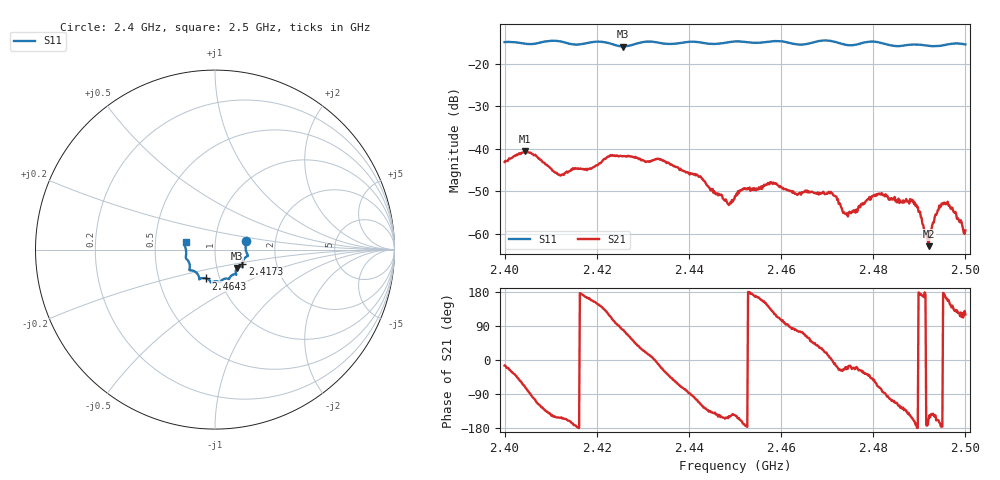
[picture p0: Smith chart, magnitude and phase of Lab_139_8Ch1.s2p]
# Hz S RI R 50
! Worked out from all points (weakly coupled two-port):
!   601 points, 2.4 GHz to 2.5 GHz, reference 50 ohm
!   highest |S21| = -40.54 dB at 2.4043 GHz (marker M1); lowest = -62.9 dB at 2.492 GHz (marker M2)
!   lowest |S11| = -15.9 dB at 2.4257 GHz (marker M3), VSWR 1.38, Z = 62.5 - j13.1 ohm
!   |S11| at or under -10 dB: start of sweep to end of sweep
!   S12 and S22 are empty: the file has one direction only
!   S11 on the Smith chart (normalised r, x): 2.4 GHz: 1.41, +0.14; 2.4173 GHz: 1.34, -0.23; 2.4643 GHz: 0.86, -0.28; 2.5 GHz: 0.72, +0.06
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2.4e9  0.1731 0.0493  0.00681 -0.00177  0 0  0 0
2.404333e9  0.1711 0.0217  0.00327 -0.00881  0 0  0 0
2.411833e9  0.1808 -0.0363  -0.00441 -0.00234  0 0  0 0
2.416667e9  0.1528 -0.0748  -0.00578 0.000652  0 0  0 0
2.417333e9  0.1521 -0.0822  -0.00558 0.00116  0 0  0 0
2.425667e9  0.1229 -0.1021  0.00145 0.00807  0 0  0 0
2.433333e9  0.1128 -0.1371  0.00751 -0.00151  0 0  0 0
2.442167e9  0.0739 -0.1634  -0.00173 -0.00437  0 0  0 0
2.448333e9  0.0341 -0.1752  -0.00205 -0.00108  0 0  0 0
2.45e9  0.0295 -0.1809  -0.0023 -0.00157  0 0  0 0
2.458167e9  -0.0192 -0.1833  -0.00237 0.00309  0 0  0 0
2.464333e9  -0.0499 -0.1606  0.00084 0.00277  0 0  0 0
2.466667e9  -0.0759 -0.1598  0.00213 0.00234  0 0  0 0
2.471333e9  -0.0871 -0.1613  0.00283 -0.000292  0 0  0 0
2.474e9  -0.0974 -0.1362  0.00163 -0.00055  0 0  0 0
2.480167e9  -0.1432 -0.1131  0.00176 -0.00223  0 0  0 0
2.483333e9  -0.1408 -0.0899  -0.000387 -0.00253  0 0  0 0
2.488833e9  -0.1622 -0.0466  -0.00213 -0.000745  0 0  0 0
2.492e9  -0.1607 -0.0253  -0.000663 -0.000283  0 0  0 0
2.493833e9  -0.1615 -0.00401  -0.00162 -0.000653  0 0  0 0
2.495667e9  -0.1663 0.0162  -0.00217 0.000521  0 0  0 0
2.5e9  -0.1637 0.0422  -0.000551 0.000955  0 0  0 0
